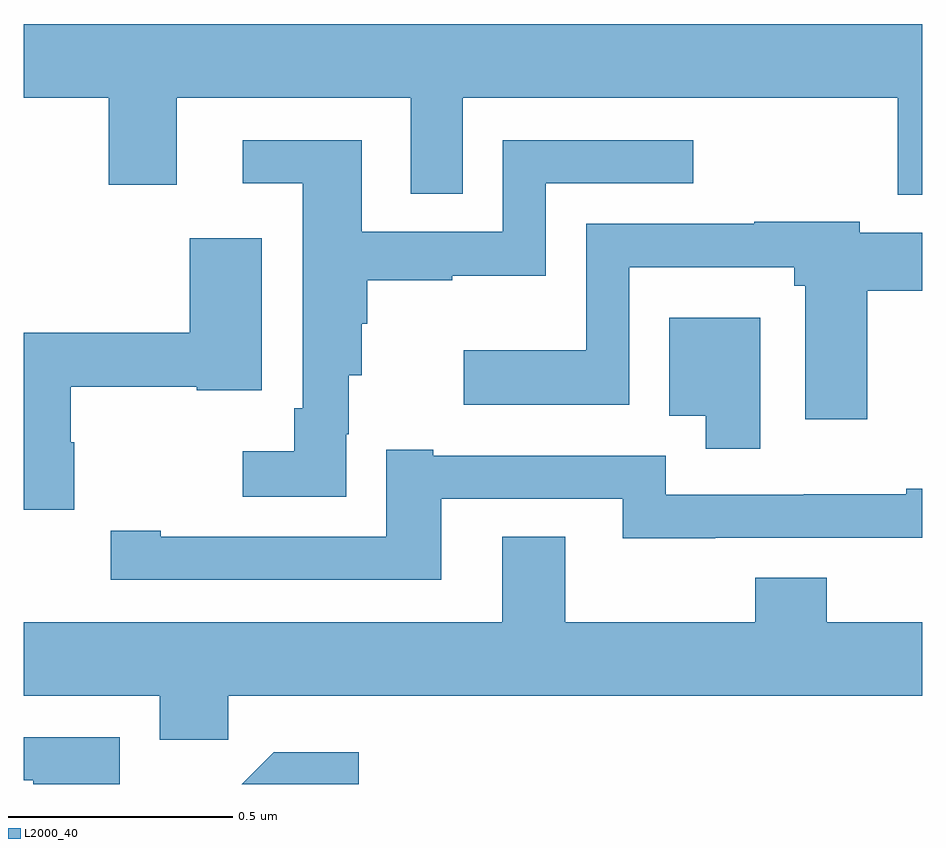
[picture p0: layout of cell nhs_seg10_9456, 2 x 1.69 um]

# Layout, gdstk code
import gdstk
lib = gdstk.Library(unit=1e-6, precision=1e-09)
def P(c, l, *ps):  # polygons
    for p in ps: c.add(gdstk.Polygon(p, *l))
L2000_40 = (2000, 40)

nhs_seg10_9456 = lib.new_cell('nhs_seg10_9456')
P(nhs_seg10_9456, L2000_40, [(232,1255.192),(230,1255.192),(230,1255.028),(230.189,1255.028),(230.189,1254.834),(230.341,1254.834),(230.341,1255.028),(230.861,1255.028),(230.861,1254.814),(230.977,1254.814),(230.977,1255.028),(231.946,1255.028),(231.946,1254.812),(232,1254.812)],
  [(230.718,1254.279),(230.723,1254.279),(230.723,1254.41),(230.752,1254.41),(230.752,1254.525),(230.765,1254.525),(230.765,1254.621),(230.954,1254.621),(230.954,1254.632),(231.162,1254.632),(231.162,1254.837),(231.49,1254.837),(231.49,1254.933),(231.066,1254.933),(231.066,1254.729),(230.752,1254.729),(230.752,1254.933),(230.487,1254.933),(230.487,1254.837),(230.621,1254.837),(230.621,1254.337),(230.602,1254.337),(230.602,1254.241),(230.487,1254.241),(230.487,1254.14),(230.718,1254.14)],
  [(231.878,1254.598),(232,1254.598),(232,1254.727),(231.861,1254.727),(231.861,1254.752),(231.626,1254.752),(231.626,1254.747),(231.252,1254.747),(231.252,1254.466),(230.979,1254.466),(230.979,1254.344),(231.348,1254.344),(231.348,1254.651),(231.715,1254.651),(231.715,1254.609),(231.74,1254.609),(231.74,1254.312),(231.878,1254.312)],
  [(230.112,1254.261),(230.104,1254.261),(230.104,1254.384),(230.385,1254.384),(230.385,1254.377),(230.53,1254.377),(230.53,1254.715),(230.369,1254.715),(230.369,1254.505),(230,1254.505),(230,1254.111),(230.112,1254.111)],
  [(231.64,1254.538),(231.437,1254.538),(231.437,1254.32),(231.518,1254.32),(231.518,1254.246),(231.64,1254.246)],
  [(230.929,1254.135),(231.333,1254.135),(231.333,1254.047),(231.539,1254.047),(231.539,1254.048),(232,1254.048),(232,1254.157),(231.965,1254.157),(231.965,1254.145),(231.736,1254.145),(231.736,1254.144),(231.429,1254.144),(231.429,1254.231),(230.911,1254.231),(230.911,1254.244),(230.807,1254.244),(230.807,1254.051),(230.305,1254.051),(230.305,1254.064),(230.193,1254.064),(230.193,1253.955),(230.929,1253.955)],
  [(230.455,1253.696),(232,1253.696),(232,1253.86),(231.788,1253.86),(231.788,1253.959),(231.628,1253.959),(231.628,1253.86),(231.205,1253.86),(231.205,1254.05),(231.065,1254.05),(231.065,1253.86),(230,1253.86),(230,1253.696),(230.303,1253.696),(230.303,1253.598),(230.455,1253.598)],
  [(230.214,1253.604),(230,1253.604),(230,1253.508),(230.021,1253.508),(230.021,1253.5),(230.214,1253.5)],
  [(230.746,1253.571),(230.556,1253.571),(230.485,1253.5),(230.746,1253.5)])

lib.write_gds('nhs_seg10_9456.gds')
